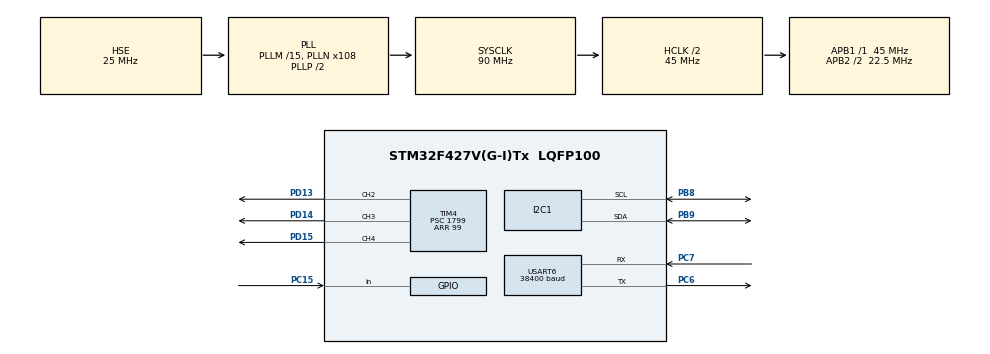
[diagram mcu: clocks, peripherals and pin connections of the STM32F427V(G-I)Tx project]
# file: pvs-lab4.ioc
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I2C1.I2C_Mode=I2C_Standard
Mcu.Family=STM32F4
Mcu.Name=STM32F427V(G-I)Tx
Mcu.Package=LQFP100
NVIC.PriorityGroup=NVIC_PRIORITYGROUP_4
NVIC.USART6_IRQn=true\:0\:0\:false\:false\:true\:true\:true\:true
PB8.Mode=I2C
PB8.Signal=I2C1_SCL
PB9.Mode=I2C
PB9.Signal=I2C1_SDA
PC15/OSC32_OUT.Signal=GPIO_Input
PC6.Mode=Asynchronous
PC6.Signal=USART6_TX
PC7.Mode=Asynchronous
PC7.Signal=USART6_RX
PD13.Signal=S_TIM4_CH2
PD14.Signal=S_TIM4_CH3
PD15.Signal=S_TIM4_CH4
PH0/OSC_IN.Mode=HSE-External-Oscillator
PH0/OSC_IN.Signal=RCC_OSC_IN
PH1/OSC_OUT.Mode=HSE-External-Oscillator
PH1/OSC_OUT.Signal=RCC_OSC_OUT
ProjectManager.HeapSize=0x200
ProjectManager.StackSize=0x400
ProjectManager.TargetToolchain=STM32CubeIDE
RCC.48MHZClocksFreq_Value=45000000
RCC.AHBCLKDivider=RCC_SYSCLK_DIV2
RCC.AHBFreq_Value=45000000
RCC.APB1Freq_Value=45000000
RCC.APB1TimFreq_Value=45000000
RCC.APB2CLKDivider=RCC_HCLK_DIV2
RCC.APB2Freq_Value=22500000
RCC.APB2TimFreq_Value=45000000
RCC.CortexFreq_Value=45000000
RCC.HCLKFreq_Value=45000000
RCC.HSE_VALUE=25000000
RCC.HSI_VALUE=16000000
RCC.LSE_VALUE=32768
RCC.PLLM=15
RCC.PLLN=108
RCC.PLLSourceVirtual=RCC_PLLSOURCE_HSE
RCC.SYSCLKFreq_VALUE=90000000
RCC.SYSCLKSource=RCC_SYSCLKSOURCE_PLLCLK
RCC.VCOOutputFreq_Value=180000000
SH.S_TIM4_CH2.0=TIM4_CH2,PWM Generation2 CH2
SH.S_TIM4_CH3.0=TIM4_CH3,PWM Generation3 CH3
SH.S_TIM4_CH4.0=TIM4_CH4,PWM Generation4 CH4
TIM4.Channel-PWM\ Generation2\ CH2=TIM_CHANNEL_2
TIM4.Channel-PWM\ Generation3\ CH3=TIM_CHANNEL_3
TIM4.Channel-PWM\ Generation4\ CH4=TIM_CHANNEL_4
TIM4.Period=99
TIM4.Prescaler=1799
USART6.BaudRate=38400
USART6.VirtualMode=VM_ASYNC
board=custom

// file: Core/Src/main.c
/* USER CODE BEGIN Header */
/**
  ******************************************************************************
  * @file           : main.c
  * @brief          : Main program body
  ******************************************************************************
  * @attention
  *
  * Copyright (c) 2025 STMicroelectronics.
  * All rights reserved.
  *
  * This software is licensed under terms that can be found in the LICENSE file
  * in the root directory of this software component.
  * If no LICENSE file comes with this software, it is provided AS-IS.
  *
  ******************************************************************************
  */
/* USER CODE END Header */
#include "main.h"
#include "i2c.h"
#include "tim.h"
#include "usart.h"
#include "gpio.h"

/* USER CODE BEGIN Includes */
#include "stm32_io.h"
#include "pult.h"
#include "keyboard.h"
/* USER CODE END Includes */

/* USER CODE BEGIN PM */
#define BTN_PIN_NUM GPIO_PIN_15
#define digital_read(GPIO, pin) !HAL_GPIO_ReadPin(GPIO, pin)
/* USER CODE END PM */

/* USER CODE BEGIN PV */
static int prev_button_state = 0;
static int mode = 0;
/* USER CODE END PV */

void SystemClock_Config(void);

/* USER CODE BEGIN 0 */

int button_processing() {
  if (digital_read(GPIOC, BTN_PIN_NUM)) {
    if (!prev_button_state) {
      HAL_Delay(20);                                 // задержка с целью избавиться от дребезга контактов
      if (digital_read(GPIOC, BTN_PIN_NUM)) {   // кнопки. 20 мс оказалось достаточно
        mode = (mode + 1) % 2;
        if (mode == 0)
          xprintf("Switch to application mode.\n");
        else
          xprintf("Switch to testing mode.\n");
        prev_button_state = 1;
        return 1;
      }
    }
  } else
      prev_button_state = 0;

  return 0;
}

/* USER CODE END 0 */

int main(void)
{

  /* MCU Configuration--------------------------------------------------------*/

  /* Reset of all peripherals, Initializes the Flash interface and the Systick. */
  HAL_Init();

  /* Configure the system clock */
  SystemClock_Config();

  /* Initialize all configured peripherals */
  MX_GPIO_Init();
  MX_TIM4_Init();
  MX_USART6_UART_Init();
  MX_I2C1_Init();
  /* USER CODE BEGIN 2 */
  HAL_TIM_PWM_Start(&htim4, TIM_CHANNEL_2);
  HAL_TIM_PWM_Start(&htim4, TIM_CHANNEL_3);
  HAL_TIM_PWM_Start(&htim4, TIM_CHANNEL_4);

  char keys[4][3] = {
    {'1', '2', '3'},
    {'4', '5', '6'},
    {'7', '8', '9'},
    {'*', '0', '#'}
  };

  keyboard_set_keys(keys);
  char c;
  /* USER CODE END 2 */

  /* Infinite loop */
  /* USER CODE BEGIN WHILE */
  while (1) {
    button_processing();
    c = keyboard_get_key();
    if (c != '\0' && mode == 0)
      pult_execute(c);
    else
      xprintf("%c\n", c);
    /* USER CODE END WHILE */

  }
}

void SystemClock_Config(void)
{
  RCC_OscInitTypeDef RCC_OscInitStruct = {0};
  RCC_ClkInitTypeDef RCC_ClkInitStruct = {0};

  /** Configure the main internal regulator output voltage
  */
  __HAL_RCC_PWR_CLK_ENABLE();
  __HAL_PWR_VOLTAGESCALING_CONFIG(PWR_REGULATOR_VOLTAGE_SCALE3);

  /** Initializes the RCC Oscillators according to the specified parameters
  * in the RCC_OscInitTypeDef structure.
  */
  RCC_OscInitStruct.OscillatorType = RCC_OSCILLATORTYPE_HSE;
  RCC_OscInitStruct.HSEState = RCC_HSE_ON;
  RCC_OscInitStruct.PLL.PLLState = RCC_PLL_ON;
  RCC_OscInitStruct.PLL.PLLSource = RCC_PLLSOURCE_HSE;
  RCC_OscInitStruct.PLL.PLLM = 15;
  RCC_OscInitStruct.PLL.PLLN = 108;
  RCC_OscInitStruct.PLL.PLLP = RCC_PLLP_DIV2;
  RCC_OscInitStruct.PLL.PLLQ = 4;
  if (HAL_RCC_OscConfig(&RCC_OscInitStruct) != HAL_OK)
  {
    Error_Handler();
  }

  /** Activate the Over-Drive mode
  */
  if (HAL_PWREx_EnableOverDrive() != HAL_OK)
  {
    Error_Handler();
  }

  /** Initializes the CPU, AHB and APB buses clocks
  */
  RCC_ClkInitStruct.ClockType = RCC_CLOCKTYPE_HCLK|RCC_CLOCKTYPE_SYSCLK
                              |RCC_CLOCKTYPE_PCLK1|RCC_CLOCKTYPE_PCLK2;
  RCC_ClkInitStruct.SYSCLKSource = RCC_SYSCLKSOURCE_PLLCLK;
  RCC_ClkInitStruct.AHBCLKDivider = RCC_SYSCLK_DIV2;
  RCC_ClkInitStruct.APB1CLKDivider = RCC_HCLK_DIV1;
  RCC_ClkInitStruct.APB2CLKDivider = RCC_HCLK_DIV2;

  if (HAL_RCC_ClockConfig(&RCC_ClkInitStruct, FLASH_LATENCY_1) != HAL_OK)
  {
    Error_Handler();
  }
}

void Error_Handler(void)
{
  __disable_irq();
  while (1)
  {
  }
}
